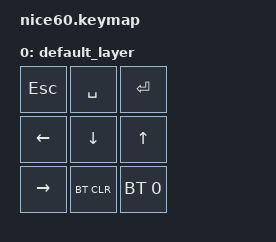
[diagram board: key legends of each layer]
/*
 * Copyright (c) 2021 Nick Winans
 *
 * SPDX-License-Identifier: MIT
 */

#include <behaviors.dtsi>
#include <dt-bindings/zmk/keys.h>
#include <dt-bindings/zmk/rgb.h>
#include <dt-bindings/zmk/bt.h>

/ {
    keymap {
        compatible = "zmk,keymap";

        default_layer {
            bindings = <
                &kp ESC    &kp SPACE   &kp RET
                &kp LEFT   &kp DOWN    &kp UP
                &kp RIGHT  &bt BT_CLR  &bt BT_SEL 0 
            >;
        };
    };
};
